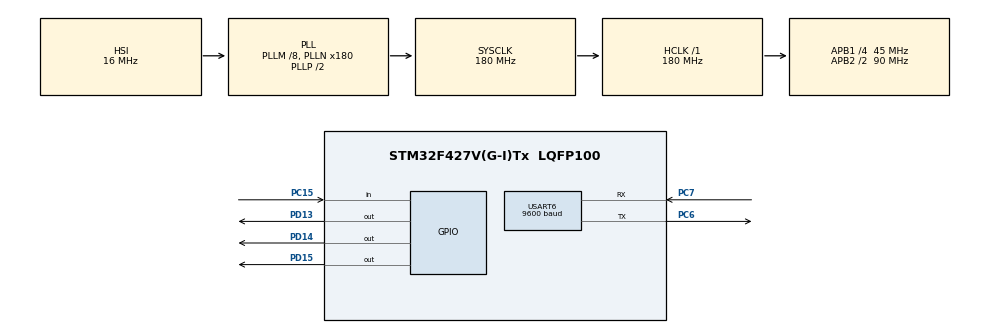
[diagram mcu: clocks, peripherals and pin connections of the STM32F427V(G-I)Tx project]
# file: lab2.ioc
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Mcu.Family=STM32F4
Mcu.Name=STM32F427V(G-I)Tx
Mcu.Package=LQFP100
NVIC.PriorityGroup=NVIC_PRIORITYGROUP_4
NVIC.USART6_IRQn=true\:0\:0\:false\:false\:true\:true\:true\:true
PA13.Mode=JTAG_5_pins
PA13.Signal=SYS_JTMS-SWDIO
PA14.Mode=JTAG_5_pins
PA14.Signal=SYS_JTCK-SWCLK
PA15.Mode=JTAG_5_pins
PA15.Signal=SYS_JTDI
PB3.Mode=JTAG_5_pins
PB3.Signal=SYS_JTDO-SWO
PB4.Mode=JTAG_5_pins
PB4.Signal=SYS_JTRST
PC15/OSC32_OUT.GPIO_PuPd=GPIO_PULLUP
PC15/OSC32_OUT.Signal=GPIO_Input
PC6.Mode=Asynchronous
PC6.Signal=USART6_TX
PC7.Mode=Asynchronous
PC7.Signal=USART6_RX
PD13.Signal=GPIO_Output
PD14.Signal=GPIO_Output
PD15.Signal=GPIO_Output
PH0/OSC_IN.Mode=HSE-External-Oscillator
PH0/OSC_IN.Signal=RCC_OSC_IN
PH1/OSC_OUT.Mode=HSE-External-Oscillator
PH1/OSC_OUT.Signal=RCC_OSC_OUT
ProjectManager.HeapSize=0x200
ProjectManager.StackSize=0x400
ProjectManager.TargetToolchain=STM32CubeIDE
RCC.48MHZClocksFreq_Value=90000000
RCC.AHBFreq_Value=180000000
RCC.APB1CLKDivider=RCC_HCLK_DIV4
RCC.APB1Freq_Value=45000000
RCC.APB1TimFreq_Value=90000000
RCC.APB2CLKDivider=RCC_HCLK_DIV2
RCC.APB2Freq_Value=90000000
RCC.APB2TimFreq_Value=180000000
RCC.CortexFreq_Value=180000000
RCC.HCLKFreq_Value=180000000
RCC.HSE_VALUE=25000000
RCC.HSI_VALUE=16000000
RCC.LSE_VALUE=32768
RCC.PLLM=8
RCC.PLLN=180
RCC.SYSCLKFreq_VALUE=180000000
RCC.SYSCLKSource=RCC_SYSCLKSOURCE_PLLCLK
RCC.VCOOutputFreq_Value=360000000
USART6.BaudRate=9600
USART6.VirtualMode=VM_ASYNC
board=custom

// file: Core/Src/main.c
/* USER CODE BEGIN Header */
/**
  ******************************************************************************
  * @file           : main.c
  * @brief          : Main program body
  ******************************************************************************
  * @attention
  *
  * Copyright (c) 2026 STMicroelectronics.
  * All rights reserved.
  *
  * This software is licensed under terms that can be found in the LICENSE file
  * in the root directory of this software component.
  * If no LICENSE file comes with this software, it is provided AS-IS.
  *
  ******************************************************************************
  */
/* USER CODE END Header */
#include "main.h"

/* USER CODE BEGIN Includes */
#include "led.h"
#include "button.h"
#include "uart_driver.h"
#include "lock_fsm.h"
/* USER CODE END Includes */

 UART_HandleTypeDef huart6;

void SystemClock_Config(void);
static void MX_GPIO_Init(void);
static void MX_USART6_UART_Init(void);

int main(void)
{

  /* MCU Configuration--------------------------------------------------------*/

  /* Reset of all peripherals, Initializes the Flash interface and the Systick. */
  HAL_Init();

  /* Configure the system clock */
  SystemClock_Config();

  /* Initialize all configured peripherals */
  MX_GPIO_Init();
  MX_USART6_UART_Init();
  /* USER CODE BEGIN 2 */
  led_init();
  button_init();
  uart_driver_init(&huart6);
  lock_fsm_init();
  /* USER CODE END 2 */

  /* Infinite loop */
  /* USER CODE BEGIN WHILE */
  while (1)
  {
    uint32_t now = HAL_GetTick();

    /* 1. Опрос кнопки стенда для переключения режима прерываний */
    ButtonEvent btn_ev = button_update(now);
    if (btn_ev != BTN_EVENT_NONE) {
      /* По нажатию кнопки переключаем режим: polling <-> interrupts */
      if (uart_driver_get_mode() == UART_MODE_POLLING) {
        uart_driver_set_mode(UART_MODE_INTERRUPT);
        uart_driver_write_string("\r\n[Mode switched: INTERRUPTS ON]\r\n");
      } else {
        uart_driver_set_mode(UART_MODE_POLLING);
        uart_driver_write_string("\r\n[Mode switched: INTERRUPTS OFF (Polling)]\r\n");
      }
      /* Требование методички: при смене режима сбрасывать ввод замка */
      lock_fsm_reset();
    }

    /* 2. Неблокирующий приём символа из UART */
    char rx_char;
    if (uart_driver_read_char(&rx_char)) {
      lock_fsm_process_char(rx_char);
    }

    /* 3. Неблокирующее обновление конечного автомата замка и анимаций светодиодов */
    lock_fsm_update(now);
    led_update(now);

    /* USER CODE END WHILE */

  }
}

void SystemClock_Config(void)
{
  RCC_OscInitTypeDef RCC_OscInitStruct = {0};
  RCC_ClkInitTypeDef RCC_ClkInitStruct = {0};

  /** Configure the main internal regulator output voltage
  */
  __HAL_RCC_PWR_CLK_ENABLE();
  __HAL_PWR_VOLTAGESCALING_CONFIG(PWR_REGULATOR_VOLTAGE_SCALE1);

  /** Initializes the RCC Oscillators according to the specified parameters
  * in the RCC_OscInitTypeDef structure.
  */
  RCC_OscInitStruct.OscillatorType = RCC_OSCILLATORTYPE_HSI;
  RCC_OscInitStruct.HSIState = RCC_HSI_ON;
  RCC_OscInitStruct.HSICalibrationValue = RCC_HSICALIBRATION_DEFAULT;
  RCC_OscInitStruct.PLL.PLLState = RCC_PLL_ON;
  RCC_OscInitStruct.PLL.PLLSource = RCC_PLLSOURCE_HSI;
  RCC_OscInitStruct.PLL.PLLM = 8;
  RCC_OscInitStruct.PLL.PLLN = 180;
  RCC_OscInitStruct.PLL.PLLP = RCC_PLLP_DIV2;
  RCC_OscInitStruct.PLL.PLLQ = 4;
  if (HAL_RCC_OscConfig(&RCC_OscInitStruct) != HAL_OK)
  {
    Error_Handler();
  }

  /** Activate the Over-Drive mode
  */
  if (HAL_PWREx_EnableOverDrive() != HAL_OK)
  {
    Error_Handler();
  }

  /** Initializes the CPU, AHB and APB buses clocks
  */
  RCC_ClkInitStruct.ClockType = RCC_CLOCKTYPE_HCLK|RCC_CLOCKTYPE_SYSCLK
                              |RCC_CLOCKTYPE_PCLK1|RCC_CLOCKTYPE_PCLK2;
  RCC_ClkInitStruct.SYSCLKSource = RCC_SYSCLKSOURCE_PLLCLK;
  RCC_ClkInitStruct.AHBCLKDivider = RCC_SYSCLK_DIV1;
  RCC_ClkInitStruct.APB1CLKDivider = RCC_HCLK_DIV4;
  RCC_ClkInitStruct.APB2CLKDivider = RCC_HCLK_DIV2;

  if (HAL_RCC_ClockConfig(&RCC_ClkInitStruct, FLASH_LATENCY_5) != HAL_OK)
  {
    Error_Handler();
  }
}

static void MX_USART6_UART_Init(void)
{

  huart6.Instance = USART6;
  huart6.Init.BaudRate = 9600;
  huart6.Init.WordLength = UART_WORDLENGTH_8B;
  huart6.Init.StopBits = UART_STOPBITS_1;
  huart6.Init.Parity = UART_PARITY_NONE;
  huart6.Init.Mode = UART_MODE_TX_RX;
  huart6.Init.HwFlowCtl = UART_HWCONTROL_NONE;
  huart6.Init.OverSampling = UART_OVERSAMPLING_16;
  if (HAL_UART_Init(&huart6) != HAL_OK)
  {
    Error_Handler();
  }

}

static void MX_GPIO_Init(void)
{
  GPIO_InitTypeDef GPIO_InitStruct = {0};

  /* GPIO Ports Clock Enable */
  __HAL_RCC_GPIOC_CLK_ENABLE();
  __HAL_RCC_GPIOH_CLK_ENABLE();
  __HAL_RCC_GPIOD_CLK_ENABLE();
  __HAL_RCC_GPIOA_CLK_ENABLE();
  __HAL_RCC_GPIOB_CLK_ENABLE();

  /*Configure GPIO pin Output Level */
  HAL_GPIO_WritePin(GPIOD, GPIO_PIN_13|GPIO_PIN_14|GPIO_PIN_15, GPIO_PIN_RESET);

  /*Configure GPIO pin : PC15 */
  GPIO_InitStruct.Pin = GPIO_PIN_15;
  GPIO_InitStruct.Mode = GPIO_MODE_INPUT;
  GPIO_InitStruct.Pull = GPIO_PULLUP;
  HAL_GPIO_Init(GPIOC, &GPIO_InitStruct);

  /*Configure GPIO pins : PD13 PD14 PD15 */
  GPIO_InitStruct.Pin = GPIO_PIN_13|GPIO_PIN_14|GPIO_PIN_15;
  GPIO_InitStruct.Mode = GPIO_MODE_OUTPUT_PP;
  GPIO_InitStruct.Pull = GPIO_NOPULL;
  GPIO_InitStruct.Speed = GPIO_SPEED_FREQ_LOW;
  HAL_GPIO_Init(GPIOD, &GPIO_InitStruct);

}

void Error_Handler(void)
{
  __disable_irq();
  while (1)
  {
  }
}
